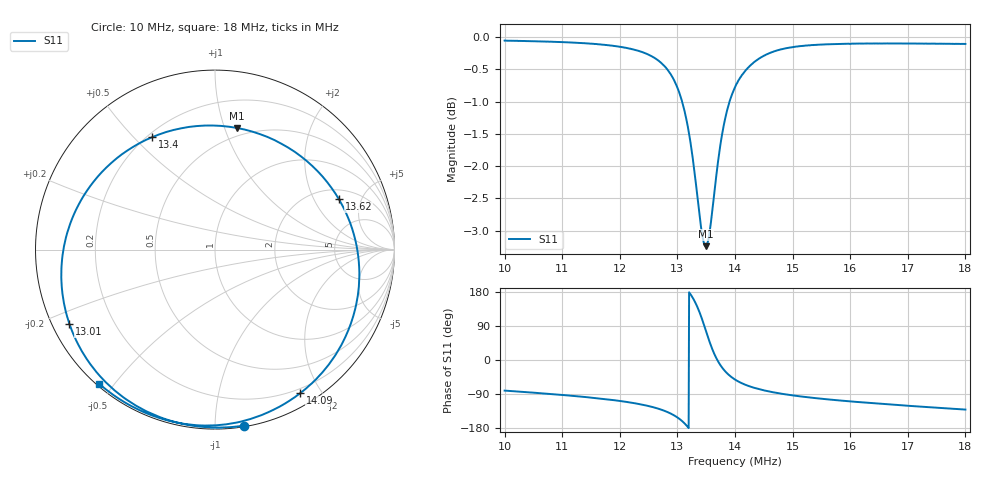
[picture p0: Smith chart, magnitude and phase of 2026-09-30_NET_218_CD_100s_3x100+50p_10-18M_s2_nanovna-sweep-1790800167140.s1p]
! NanoVNA Web complex sweep
! Processing: unaveraged complex samples; linear segment spacing; no smoothing
# Hz S RI R 50
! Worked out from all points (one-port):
!   1010 points, 10 MHz to 18 MHz, reference 50 ohm
!   lowest |S11| = -3.2 dB at 13.49 MHz (marker M1), VSWR 5.43, Z = 21.3 + j55 ohm
!   |S11| at or under -10 dB: nowhere
!   S11 on the Smith chart (normalised r, x): 10 MHz: 0.01, -1.18; 13.01 MHz: 0.05, -0.24; 13.4 MHz: 0.22, +0.57; 13.62 MHz: 2.55, +3.22; 14.09 MHz: 0.15, -1.75; 18 MHz: 0.01, -0.46
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1e7  0.1597 -0.9808
1.100698e7  -0.0401 -0.9901
1.200604e7  -0.3062 -0.9338
1.237077e7  -0.4462 -0.8659
1.264036e7  -0.5807 -0.7658
1.284651e7  -0.7061 -0.6219
1.300509e7  -0.8065 -0.4272
1.301302e7  -0.811 -0.4143
1.314781e7  -0.8563 -0.1351
1.324296e7  -0.8073 0.1426
1.332225e7  -0.6529 0.4071
1.340154e7  -0.3486 0.6271
1.344912e7  -0.1013 0.6883
1.348876e7  0.1203 0.6782
1.352048e7  0.2912 0.6282
1.356012e7  0.4792 0.5193
1.362355e7  0.6908 0.2799
1.370284e7  0.7982 -0.0386
1.380592e7  0.7705 -0.3702
1.390107e7  0.6775 -0.577
1.400414e7  0.5644 -0.721
1.409136e7  0.4743 -0.8005
1.424202e7  0.3415 -0.8845
1.443231e7  0.2078 -0.9404
1.50032e7  -0.0586 -0.9804
1.600225e7  -0.3248 -0.9327
1.700131e7  -0.5051 -0.8497
1.800036e7  -0.6455 -0.7476
